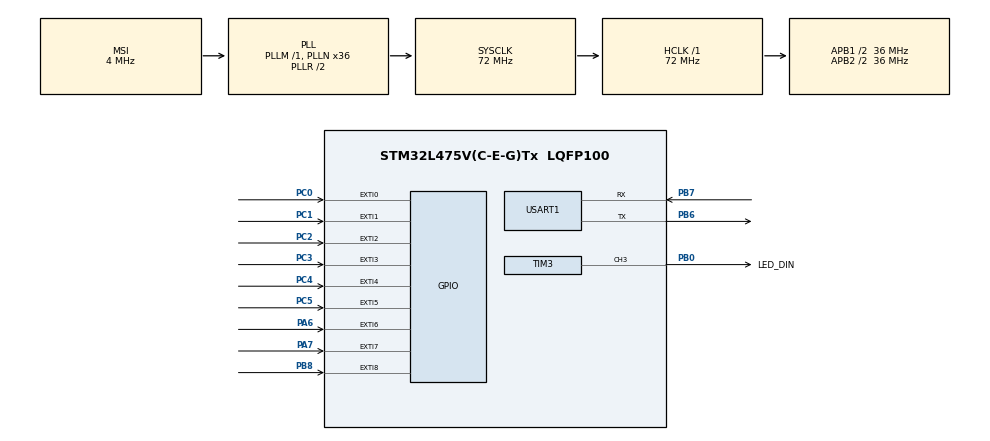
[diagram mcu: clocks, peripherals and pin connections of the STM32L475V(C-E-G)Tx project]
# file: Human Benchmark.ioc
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Dma.Request0=TIM3_CH3
Dma.TIM3_CH3.0.Direction=DMA_MEMORY_TO_PERIPH
Dma.TIM3_CH3.0.Instance=DMA1_Channel2
Dma.TIM3_CH3.0.MemDataAlignment=DMA_MDATAALIGN_HALFWORD
Dma.TIM3_CH3.0.MemInc=DMA_MINC_ENABLE
Dma.TIM3_CH3.0.Mode=DMA_NORMAL
Dma.TIM3_CH3.0.PeriphDataAlignment=DMA_PDATAALIGN_HALFWORD
Dma.TIM3_CH3.0.PeriphInc=DMA_PINC_DISABLE
Dma.TIM3_CH3.0.Priority=DMA_PRIORITY_LOW
Mcu.Family=STM32L4
Mcu.Name=STM32L475V(C-E-G)Tx
Mcu.Package=LQFP100
NVIC.DMA1_Channel2_IRQn=true\:0\:0\:false\:false\:true\:false\:true\:true
NVIC.EXTI0_IRQn=true\:1\:0\:true\:false\:true\:true\:true\:true
NVIC.EXTI1_IRQn=true\:1\:0\:true\:false\:true\:true\:true\:true
NVIC.EXTI2_IRQn=true\:1\:0\:true\:false\:true\:true\:true\:true
NVIC.EXTI3_IRQn=true\:1\:0\:true\:false\:true\:true\:true\:true
NVIC.EXTI4_IRQn=true\:0\:0\:false\:false\:true\:true\:true\:true
NVIC.EXTI9_5_IRQn=true\:1\:0\:true\:false\:true\:true\:true\:true
NVIC.PriorityGroup=NVIC_PRIORITYGROUP_4
NVIC.TIM1_UP_TIM16_IRQn=true\:2\:0\:true\:false\:true\:true\:true\:true
PA6.GPIO_ModeDefaultEXTI=GPIO_MODE_IT_FALLING
PA6.GPIO_PuPd=GPIO_PULLUP
PA6.Signal=GPXTI6
PA7.GPIO_ModeDefaultEXTI=GPIO_MODE_IT_FALLING
PA7.GPIO_PuPd=GPIO_PULLUP
PA7.Signal=GPXTI7
PB0.GPIO_Label=LED_DIN
PB0.Signal=S_TIM3_CH3
PB6.GPIO_FM6=SYSCFG_FASTMODEPLUS_PB6
PB6.Mode=Asynchronous
PB6.Signal=USART1_TX
PB7.GPIO_FM7=SYSCFG_FASTMODEPLUS_PB7
PB7.Mode=Asynchronous
PB7.Signal=USART1_RX
PB8.GPIO_ModeDefaultEXTI=GPIO_MODE_IT_FALLING
PB8.GPIO_PuPd=GPIO_PULLUP
PB8.Signal=GPXTI8
PC0.GPIO_ModeDefaultEXTI=GPIO_MODE_IT_FALLING
PC0.GPIO_PuPd=GPIO_PULLUP
PC0.Signal=GPXTI0
PC1.GPIO_ModeDefaultEXTI=GPIO_MODE_IT_FALLING
PC1.GPIO_PuPd=GPIO_PULLUP
PC1.Signal=GPXTI1
PC2.GPIO_ModeDefaultEXTI=GPIO_MODE_IT_FALLING
PC2.GPIO_PuPd=GPIO_PULLUP
PC2.Signal=GPXTI2
PC3.GPIO_ModeDefaultEXTI=GPIO_MODE_IT_FALLING
PC3.GPIO_PuPd=GPIO_PULLUP
PC3.Signal=GPXTI3
PC4.GPIO_ModeDefaultEXTI=GPIO_MODE_IT_FALLING
PC4.GPIO_PuPd=GPIO_PULLUP
PC4.Signal=GPXTI4
PC5.GPIO_ModeDefaultEXTI=GPIO_MODE_IT_FALLING
PC5.GPIO_PuPd=GPIO_PULLUP
PC5.Signal=GPXTI5
PH0-OSC_IN\ (PH0).Mode=HSE-External-Oscillator
PH0-OSC_IN\ (PH0).Signal=RCC_OSC_IN
PH1-OSC_OUT\ (PH1).Mode=HSE-External-Oscillator
PH1-OSC_OUT\ (PH1).Signal=RCC_OSC_OUT
ProjectManager.HeapSize=0x200
ProjectManager.StackSize=0x400
ProjectManager.TargetToolchain=STM32CubeIDE
RCC.AHBFreq_Value=72000000
RCC.APB1CLKDivider=RCC_HCLK_DIV2
RCC.APB1Freq_Value=36000000
RCC.APB1TimFreq_Value=72000000
RCC.APB2CLKDivider=RCC_HCLK_DIV2
RCC.APB2Freq_Value=36000000
RCC.APB2TimFreq_Value=72000000
RCC.CortexFreq_Value=72000000
RCC.HCLKFreq_Value=72000000
RCC.HSE_VALUE=8000000
RCC.HSI_VALUE=16000000
RCC.LSE_VALUE=32768
RCC.MSI_VALUE=4000000
RCC.PLLN=36
RCC.SYSCLKFreq_VALUE=72000000
RCC.SYSCLKSource=RCC_SYSCLKSOURCE_PLLCLK
RCC.VCOOutputFreq_Value=144000000
SH.S_TIM3_CH3.0=TIM3_CH3,PWM Generation3 CH3
TIM16.Period=64515
TIM16.Prescaler=2231
TIM3.Channel-PWM\ Generation3\ CH3=TIM_CHANNEL_3
TIM3.Period=72-1
USART1.VirtualMode-Asynchronous=VM_ASYNC
VP_TIM16_VS_ClockSourceINT.Mode=Enable_Timer
board=custom

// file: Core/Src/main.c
/* USER CODE BEGIN Header */
/**
  ******************************************************************************
  * @file           : main.c
  * @brief          : Main program body
  ******************************************************************************
  * @attention
  *
  * Copyright (c) 2024 STMicroelectronics.
  * All rights reserved.
  *
  * This software is licensed under terms that can be found in the LICENSE file
  * in the root directory of this software component.
  * If no LICENSE file comes with this software, it is provided AS-IS.
  *
  ******************************************************************************
  */

/* USER CODE END Header */
#include "main.h"

/* USER CODE BEGIN Includes */
#include "WS2812B.h"
#include <stdio.h>
#include <string.h>
/* USER CODE END Includes */

/* USER CODE BEGIN PTD */
/*
Definzione struttura coppie LED-Pulsante ed inizializzazione
- GPIO_Pin -> Il pin a livello scheda
- LED_Num -> Il numero del LED corrispondente
*/
typedef struct{
    uint16_t GPIO_Pulsante;
    int Led_num;
} Puls_Led;

Puls_Led Pulsanti[9];

/* USER CODE END PTD */

/* USER CODE BEGIN PD */
typedef enum {start = 0, running = 1, ended = 2} StateEnum;
#define MAX_LED 9 // Definizione della costante per il numero massimo di LED/Pulsanti
#define GREEN_BUTTON_PIN 4 // Aggiungi la definizione per il pulsante verde
#define TEMPI_QTY 11
/* USER CODE END PD */

TIM_HandleTypeDef htim3;
TIM_HandleTypeDef htim16;
DMA_HandleTypeDef hdma_tim3_ch3;

UART_HandleTypeDef huart1;

/* USER CODE BEGIN PV */
uint8_t s[200] = {'\0'};
int it_tot; //Pulsanti che verranno premuti durante la sessione
int it_cor; //Iterazione corrente
//int Colpiti;
//int Mancati;
double Tempi[TEMPI_QTY] = {0.0};
int puls_id = 0;
double veloce = 10000.0; // Inizializza a un valore alto per trovare il minimo
double lento = 0.0;
int pressed = 0;

StateEnum curr_state = start; //stato del processo, usato per dividere gli stati del programma
/* USER CODE END PV */

void SystemClock_Config(void);
static void MX_GPIO_Init(void);
static void MX_DMA_Init(void);
static void MX_USART1_UART_Init(void);
static void MX_TIM16_Init(void);
static void MX_TIM3_Init(void);
/* USER CODE BEGIN PFP */
//static void TIM_GetCounter(TIM_TypeDef* TIM);
static void TIM_ResetCounter(TIM_TypeDef* TIM);
/* USER CODE END PFP */

int main(void)
{

  /* USER CODE BEGIN 1 */

  //FARE DOUBLE CHECK CHE I COLLEGAMENTI HARDWARE RISPECCHIANO LE COPPIE SOFTWARE
  Pulsanti[0].GPIO_Pulsante = GPIO_PIN_0; //Pulsante 1 - PC0
  Pulsanti[0].Led_num = 0;

  Pulsanti[1].GPIO_Pulsante = GPIO_PIN_1 ; //Pulsante 2 - PC1
  Pulsanti[1].Led_num = 1;

  Pulsanti[2].GPIO_Pulsante = GPIO_PIN_2; //Pulsante 3 - PC2
  Pulsanti[2].Led_num = 2;

  Pulsanti[3].GPIO_Pulsante = GPIO_PIN_3; //Pulsante 4 - PC3
  Pulsanti[3].Led_num = 3;

  Pulsanti[4].GPIO_Pulsante = GPIO_PIN_4; //Pulsante 5 - PC4  //PULSANTE CENTRALE
  Pulsanti[4].Led_num = 4;

  Pulsanti[5].GPIO_Pulsante = GPIO_PIN_5; //Pulsante 6 - PC5
  Pulsanti[5].Led_num = 5;

  Pulsanti[6].GPIO_Pulsante = GPIO_PIN_6; //Pulsante 7 - PA6
  Pulsanti[6].Led_num = 6;

  Pulsanti[7].GPIO_Pulsante = GPIO_PIN_7; //Pulsante 8 - PA7
  Pulsanti[7].Led_num = 7;

  Pulsanti[8].GPIO_Pulsante = GPIO_PIN_8; //Pulsante 9 - PB8
  Pulsanti[8].Led_num = 8;

  /* USER CODE END 1 */

  /* MCU Configuration--------------------------------------------------------*/

  /* Reset of all peripherals, Initializes the Flash interface and the Systick. */
  HAL_Init();

  /* Configure the system clock */
  SystemClock_Config();

  /* Initialize all configured peripherals */
  MX_GPIO_Init();
  MX_DMA_Init();
  MX_USART1_UART_Init();
  MX_TIM16_Init();
  MX_TIM3_Init();
  /* USER CODE BEGIN 2 */

  sprintf((char*)s,"Inizializzazione e Caricamento dati...\r\n\r\n");
  HAL_UART_Transmit(&huart1, s, sizeof(s), 100);
  memset(s ,0, sizeof(s));
  HAL_Delay(100);
  Reset_LED();
  HAL_TIM_Base_Stop(&htim16);
  TIM_ResetCounter(TIM16);

  /* USER CODE END 2 */

  /* Infinite loop */
  /* USER CODE BEGIN WHILE */

  while(1){
      switch(curr_state){
      case start:
        //setup o reset dati
    	it_tot = TEMPI_QTY;
        it_cor = 0;
        //Colpiti = 0;
        //Mancati = 0;
        lento = 0.0;
        veloce = 1000.0;
        for(int i = 0; i < it_tot; i++) Tempi[i] = 0;

        sprintf((char*)s,"Iterazioni Totali: %d \r\nTempo massimo di reazione: 2 secondi\r\n", it_tot);
        HAL_UART_Transmit(&huart1, s, sizeof(s), 100);
        memset(s ,0, sizeof(s));
        sprintf((char*)s,"Premere il Pulsante Verde per Iniziare.\r\n");
        HAL_UART_Transmit(&huart1, s, sizeof(s), 100);
        memset(s,0,sizeof(s));
        Attiva_LED(GREEN_BUTTON_PIN, 0, 255, 0);
        while(curr_state == start){ //dovrebbe bloccarsi qua
        	HAL_Delay(250);
        }
        break;

      case running:
    	HAL_TIM_Base_Stop(&htim16);
		TIM_ResetCounter(TIM16);
		sprintf((char*)s,"\r\nINIZO SESSIONE in 3 secondi\r\nIl primo è di assestamento, non verrà contato.\r\n");
		HAL_UART_Transmit(&huart1, s, sizeof(s), 100);
		memset(s,0,sizeof(s));
        Attiva_LED(4, 0,0,0);
        HAL_Delay(3000);
        pressed = 0;

        while(it_cor < it_tot){
//            sprintf((char*)s,"Tentativo: %d \r\n", it_cor);
//            HAL_UART_Transmit(&huart1, s, sizeof(s), 100);
//			memset(s,0,sizeof(s));
            //wait = rand()%2000 +1000;
            puls_id = rand()%MAX_LED;
            Attiva_LED(puls_id, 0, 50, 140);
//            sprintf((char*)s,"Pulsante attivo: %d \r\n", puls_id);
//			HAL_UART_Transmit(&huart1, s, sizeof(s), 100);
//			memset(s,0,sizeof(s));

            TIM_ResetCounter(TIM16); // Reset del contatore del timer
            HAL_TIM_Base_Start_IT(&htim16); //&htim16

            HAL_Delay(2000);
            // Questa parte dovrebbe essere implementata per aspettare l'input dell'utente
            // Attualmente il codice non aspetta e continua direttamente

            // Logica per terminare il test o andare al successivo tentativo
            // Temporaneamente sostituito dall'interrupt del timer, ha una priorità maggiore quindi sarà sopra agli EXTI
//            if(__HAL_TIM_GET_COUNTER(&htim16) > 2000){
//                Mancati++;
//                sprintf((char*)s, "Troppo lento!\r\n");
//                HAL_UART_Transmit(&huart1, s, sizeof(s), 100);
//				memset(s,0,sizeof(s));
//                HAL_TIM_Base_Stop(&htim16); // Assicurati di fermare il timer
//            }
//            HAL_UART_Transmit(&huart1, s, strlen((char*)s), 100);
//            memset(s, 0, sizeof(s));
        }

        //fine sessione, cambia stato
        curr_state = ended;
        break;

      case ended:
        //Calcoli finali, fuori dal while dato che la sessione è finita.
    	//EVITA IL PRIMO GIRO DATO CHE IL TIMER DA PROBLEMI
        double media = 0;
        for(int i = 0; i < it_tot; i++){
        	if(Tempi[i] != -1.0)
        		media += Tempi[i];
        }
        media = media / it_tot-1;

        for(int i = 1; i < it_tot; i++){
        	if(Tempi[i] > lento && Tempi[i]!=-1.0) lento = Tempi[i];
        	else if(Tempi[i] <= veloce && Tempi[i]!=-1.0) veloce = Tempi[i];
        }

        ///////----RESOCONTO----///////
        sprintf((char*)s,"Test completato, ecco i risultati:\r\n");
        HAL_UART_Transmit(&huart1, s, sizeof(s), 100);
		memset(s,0,sizeof(s));
        for(int i = 1; i < it_tot; i++){
            sprintf((char*)s,"Tentativo %d:\tTempo: %.2lf ms\r\n", i, Tempi[i]);
            HAL_UART_Transmit(&huart1, s, sizeof(s), 100);
			memset(s,0,sizeof(s));
        }
//        sprintf((char*)s,"\r\nNumero Pulsanti Totali:%d\tPulsanti Corretti:%d \tPulsanti Mancati:%d \r\nTempo Medio: %.2lf ms\tReazione Piu\' Veloce: %.2lf ms\tReazione piu\' Lenta: %.2lf ms\r\n",it_tot, Colpiti, Mancati, media, veloce, lento);
//        HAL_UART_Transmit(&huart1, s, sizeof(s), 100);
//        memset(s ,0, sizeof(s));
        sprintf((char*)s,"\r\nNumero Pulsanti Totali:%d\r\nTempo Medio: %.2lf ms\tReazione Piu\' Veloce: %.2lf ms\tReazione piu\' Lenta: %.2lf ms\r\n", (it_tot-1), media, veloce, lento);
        HAL_UART_Transmit(&huart1, s, sizeof(s), 100);
        memset(s ,0, sizeof(s));
        sprintf((char*)s, "Premere il pulsante verde per ricominciare.\r\n");
        HAL_UART_Transmit(&huart1, s, sizeof(s), 100);
        memset(s ,0, sizeof(s));
        Attiva_LED(GREEN_BUTTON_PIN, 0, 255, 0);
        while(curr_state == ended){ //dovrebbe bloccarsi qua
        	HAL_Delay(250);
		}
		Reset_LED();
        break;
      }
    }

    /* USER CODE END WHILE */

}

void SystemClock_Config(void)
{
  RCC_OscInitTypeDef RCC_OscInitStruct = {0};
  RCC_ClkInitTypeDef RCC_ClkInitStruct = {0};

  /** Configure the main internal regulator output voltage
  */
  if (HAL_PWREx_ControlVoltageScaling(PWR_REGULATOR_VOLTAGE_SCALE1) != HAL_OK)
  {
    Error_Handler();
  }

  /** Initializes the RCC Oscillators according to the specified parameters
  * in the RCC_OscInitTypeDef structure.
  */
  RCC_OscInitStruct.OscillatorType = RCC_OSCILLATORTYPE_MSI;
  RCC_OscInitStruct.MSIState = RCC_MSI_ON;
  RCC_OscInitStruct.MSICalibrationValue = 0;
  RCC_OscInitStruct.MSIClockRange = RCC_MSIRANGE_6;
  RCC_OscInitStruct.PLL.PLLState = RCC_PLL_ON;
  RCC_OscInitStruct.PLL.PLLSource = RCC_PLLSOURCE_MSI;
  RCC_OscInitStruct.PLL.PLLM = 1;
  RCC_OscInitStruct.PLL.PLLN = 36;
  RCC_OscInitStruct.PLL.PLLP = RCC_PLLP_DIV7;
  RCC_OscInitStruct.PLL.PLLQ = RCC_PLLQ_DIV2;
  RCC_OscInitStruct.PLL.PLLR = RCC_PLLR_DIV2;
  if (HAL_RCC_OscConfig(&RCC_OscInitStruct) != HAL_OK)
  {
    Error_Handler();
  }

  /** Initializes the CPU, AHB and APB buses clocks
  */
  RCC_ClkInitStruct.ClockType = RCC_CLOCKTYPE_HCLK|RCC_CLOCKTYPE_SYSCLK
                              |RCC_CLOCKTYPE_PCLK1|RCC_CLOCKTYPE_PCLK2;
  RCC_ClkInitStruct.SYSCLKSource = RCC_SYSCLKSOURCE_PLLCLK;
  RCC_ClkInitStruct.AHBCLKDivider = RCC_SYSCLK_DIV1;
  RCC_ClkInitStruct.APB1CLKDivider = RCC_HCLK_DIV2;
  RCC_ClkInitStruct.APB2CLKDivider = RCC_HCLK_DIV2;

  if (HAL_RCC_ClockConfig(&RCC_ClkInitStruct, FLASH_LATENCY_4) != HAL_OK)
  {
    Error_Handler();
  }
}

static void MX_TIM3_Init(void)
{

  TIM_MasterConfigTypeDef sMasterConfig = {0};
  TIM_OC_InitTypeDef sConfigOC = {0};

  htim3.Instance = TIM3;
  htim3.Init.Prescaler = 0;
  htim3.Init.CounterMode = TIM_COUNTERMODE_UP;
  htim3.Init.Period = 72-1;
  htim3.Init.ClockDivision = TIM_CLOCKDIVISION_DIV1;
  htim3.Init.AutoReloadPreload = TIM_AUTORELOAD_PRELOAD_DISABLE;
  if (HAL_TIM_PWM_Init(&htim3) != HAL_OK)
  {
    Error_Handler();
  }
  sMasterConfig.MasterOutputTrigger = TIM_TRGO_RESET;
  sMasterConfig.MasterSlaveMode = TIM_MASTERSLAVEMODE_DISABLE;
  if (HAL_TIMEx_MasterConfigSynchronization(&htim3, &sMasterConfig) != HAL_OK)
  {
    Error_Handler();
  }
  sConfigOC.OCMode = TIM_OCMODE_PWM1;
  sConfigOC.Pulse = 0;
  sConfigOC.OCPolarity = TIM_OCPOLARITY_HIGH;
  sConfigOC.OCFastMode = TIM_OCFAST_DISABLE;
  if (HAL_TIM_PWM_ConfigChannel(&htim3, &sConfigOC, TIM_CHANNEL_3) != HAL_OK)
  {
    Error_Handler();
  }
  HAL_TIM_MspPostInit(&htim3);

}

static void MX_TIM16_Init(void)
{

  htim16.Instance = TIM16;
  htim16.Init.Prescaler = 2231;
  htim16.Init.CounterMode = TIM_COUNTERMODE_UP;
  htim16.Init.Period = 64515;
  htim16.Init.ClockDivision = TIM_CLOCKDIVISION_DIV1;
  htim16.Init.RepetitionCounter = 0;
  htim16.Init.AutoReloadPreload = TIM_AUTORELOAD_PRELOAD_DISABLE;
  if (HAL_TIM_Base_Init(&htim16) != HAL_OK)
  {
    Error_Handler();
  }

}

static void MX_USART1_UART_Init(void)
{

  huart1.Instance = USART1;
  huart1.Init.BaudRate = 115200;
  huart1.Init.WordLength = UART_WORDLENGTH_8B;
  huart1.Init.StopBits = UART_STOPBITS_1;
  huart1.Init.Parity = UART_PARITY_NONE;
  huart1.Init.Mode = UART_MODE_TX_RX;
  huart1.Init.HwFlowCtl = UART_HWCONTROL_NONE;
  huart1.Init.OverSampling = UART_OVERSAMPLING_16;
  huart1.Init.OneBitSampling = UART_ONE_BIT_SAMPLE_DISABLE;
  huart1.AdvancedInit.AdvFeatureInit = UART_ADVFEATURE_NO_INIT;
  if (HAL_UART_Init(&huart1) != HAL_OK)
  {
    Error_Handler();
  }

}

static void MX_DMA_Init(void)
{

  /* DMA controller clock enable */
  __HAL_RCC_DMA1_CLK_ENABLE();

  /* DMA interrupt init */
  /* DMA1_Channel2_IRQn interrupt configuration */
  HAL_NVIC_SetPriority(DMA1_Channel2_IRQn, 0, 0);
  HAL_NVIC_EnableIRQ(DMA1_Channel2_IRQn);

}

static void MX_GPIO_Init(void)
{
  GPIO_InitTypeDef GPIO_InitStruct = {0};

  /* GPIO Ports Clock Enable */
  __HAL_RCC_GPIOH_CLK_ENABLE();
  __HAL_RCC_GPIOC_CLK_ENABLE();
  __HAL_RCC_GPIOA_CLK_ENABLE();
  __HAL_RCC_GPIOB_CLK_ENABLE();

  /*Configure GPIO pins : PC0 PC1 PC2 PC3
                           PC4 PC5 */
  GPIO_InitStruct.Pin = GPIO_PIN_0|GPIO_PIN_1|GPIO_PIN_2|GPIO_PIN_3
                          |GPIO_PIN_4|GPIO_PIN_5;
  GPIO_InitStruct.Mode = GPIO_MODE_IT_FALLING;
  GPIO_InitStruct.Pull = GPIO_PULLUP;
  HAL_GPIO_Init(GPIOC, &GPIO_InitStruct);

  /*Configure GPIO pins : PA6 PA7 */
  GPIO_InitStruct.Pin = GPIO_PIN_6|GPIO_PIN_7;
  GPIO_InitStruct.Mode = GPIO_MODE_IT_FALLING;
  GPIO_InitStruct.Pull = GPIO_PULLUP;
  HAL_GPIO_Init(GPIOA, &GPIO_InitStruct);

  /*Configure GPIO pin : PB8 */
  GPIO_InitStruct.Pin = GPIO_PIN_8;
  GPIO_InitStruct.Mode = GPIO_MODE_IT_FALLING;
  GPIO_InitStruct.Pull = GPIO_PULLUP;
  HAL_GPIO_Init(GPIOB, &GPIO_InitStruct);

  /* EXTI interrupt init*/
  HAL_NVIC_SetPriority(EXTI0_IRQn, 1, 0);
  HAL_NVIC_EnableIRQ(EXTI0_IRQn);

  HAL_NVIC_SetPriority(EXTI1_IRQn, 1, 0);
  HAL_NVIC_EnableIRQ(EXTI1_IRQn);

  HAL_NVIC_SetPriority(EXTI2_IRQn, 1, 0);
  HAL_NVIC_EnableIRQ(EXTI2_IRQn);

  HAL_NVIC_SetPriority(EXTI3_IRQn, 1, 0);
  HAL_NVIC_EnableIRQ(EXTI3_IRQn);

  HAL_NVIC_SetPriority(EXTI4_IRQn, 0, 0);
  HAL_NVIC_EnableIRQ(EXTI4_IRQn);

  HAL_NVIC_SetPriority(EXTI9_5_IRQn, 1, 0);
  HAL_NVIC_EnableIRQ(EXTI9_5_IRQn);

}

/* USER CODE BEGIN 4 */
void HAL_GPIO_EXTI_Callback(uint16_t GPIO_Pin){
  if(curr_state == running){
    //int pulsanteCorretto = 0;
	HAL_TIM_Base_Stop(&htim16);
    Attiva_LED(puls_id, 0,0,0);
    for(int i = 0; i < MAX_LED; i++){
      if(puls_id == Pulsanti[i].Led_num){
        //pulsanteCorretto = 1; // Imposta il flag per indicare che il pulsante corretto è stato premuto
        Tempi[it_cor] = __HAL_TIM_GET_COUNTER(&htim16) / 100.0; // esempio: calcolo del tempo in secondi
        //Colpiti++;
//        sprintf((char*)s,"Premuto il pin %d\r\n", GPIO_Pin);
//		HAL_UART_Transmit(&huart1, s, sizeof(s), 1000);
//		memset(s,0,sizeof(s));
        it_cor++;
        // TIM_ResetCounter(TIM16); // Reset del contatore del timer
        return;
      }
    }

    // Pulsante sbagliato, gestione del caso
//     if (!pulsanteCorretto) {
//        sprintf((char*)s, "Pulsante sbagliato!\r\n");
//        HAL_UART_Transmit(&huart1, s, sizeof(s), 100);
//		memset(s,0,sizeof(s));
//		it_cor++;
//        Mancati++;
//        return;
//     }
  }
  else if(curr_state == start && GPIO_Pin == GPIO_PIN_4){ // Assicurati che il pin sia corretto
    curr_state = running; // Cambia stato a running per iniziare il test
  }
  else if(curr_state == ended && GPIO_Pin == GPIO_PIN_4){
    curr_state = start; // Ritorna allo stato iniziale per ricominciare
  }
}

static void TIM_ResetCounter(TIM_TypeDef* TIM) {
  __HAL_TIM_SET_COUNTER(&htim16, 0);
}

/**
 * Rifacimento della funzione HAL_Delay, ci aggiungiamo una flag per impedire il funzionamento dei pulsanti
 * POSSIAMO CHIAMARE INTERRUPT DURANTE UN DELAY
 */
void HAL_Delay(uint32_t Delay)
{
  //pauseFlag = 1;
  uint32_t tickstart = HAL_GetTick();
  uint32_t wait = Delay;

  /* Add a period to guaranty minimum wait */
  if (wait < HAL_MAX_DELAY)
  {
    wait += (uint32_t)uwTickFreq;
  }

  while ((HAL_GetTick() - tickstart) < wait)
  {
  }

  //pauseFlag=0;
}

// La funzione viene chiamata se il timer scade
void HAL_TIM_PeriodElapsedCallback(TIM_HandleTypeDef* htim){
	HAL_TIM_Base_Stop(&htim16);
	//Mancati++;
	Tempi[it_cor] = -1.0;
	sprintf((char*)s, "Tempo Scaduto!\r\n");
	HAL_UART_Transmit(&huart1, s, sizeof(s), 100);
	memset(s,0,sizeof(s));
	it_cor++;
}
/* USER CODE END 4 */

void Error_Handler(void)
{
  __disable_irq();
  while (1)
  {
  }
}
